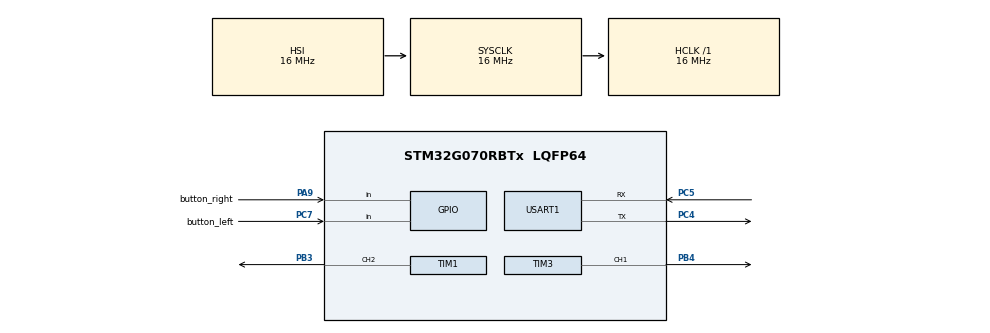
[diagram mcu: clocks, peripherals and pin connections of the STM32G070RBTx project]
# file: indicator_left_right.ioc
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Mcu.Family=STM32G0
Mcu.Name=STM32G070RBTx
Mcu.Package=LQFP64
NVIC.USART1_IRQn=true\:0\:0\:false\:false\:true\:true\:true\:true
PA9.GPIO_Label=button_right
PA9.Signal=GPIO_Input
PB3.Signal=S_TIM1_CH2
PB4.Signal=S_TIM3_CH1
PC4.Mode=Asynchronous
PC4.Signal=USART1_TX
PC5.Mode=Asynchronous
PC5.Signal=USART1_RX
PC7.GPIO_Label=button_left
PC7.Signal=GPIO_Input
ProjectManager.HeapSize=0x200
ProjectManager.StackSize=0x400
ProjectManager.TargetToolchain=STM32CubeIDE
RCC.AHBFreq_Value=16000000
RCC.CortexFreq_Value=16000000
RCC.EXTERNAL_CLOCK_VALUE=48000
RCC.HCLKFreq_Value=16000000
RCC.HSE_VALUE=8000000
RCC.HSI_VALUE=16000000
RCC.LSE_VALUE=32768
RCC.SYSCLKFreq_VALUE=16000000
RCC.VCOOutputFreq_Value=128000000
SH.S_TIM1_CH2.0=TIM1_CH2,PWM Generation2 CH2
SH.S_TIM3_CH1.0=TIM3_CH1,PWM Generation1 CH1
TIM1.Channel-PWM\ Generation2\ CH2=TIM_CHANNEL_2
TIM1.Period=300
TIM1.Prescaler=15999
TIM1.Pulse-PWM\ Generation2\ CH2=149
TIM3.Channel-PWM\ Generation1\ CH1=TIM_CHANNEL_1
TIM3.Period=300
TIM3.Prescaler=15999
TIM3.Pulse-PWM\ Generation1\ CH1=149
TIM6.Period=999
TIM6.Prescaler=1599
USART1.VirtualMode-Asynchronous=VM_ASYNC
VP_TIM6_VS_ClockSourceINT.Mode=Enable_Timer
board=custom

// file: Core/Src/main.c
/* USER CODE BEGIN Header */
/**
  ******************************************************************************
  * @file           : main.c
  * @brief          : Main program body
  ******************************************************************************
  * @attention
  *
  * Copyright (c) 2025 STMicroelectronics.
  * All rights reserved.
  *
  * This software is licensed under terms that can be found in the LICENSE file
  * in the root directory of this software component.
  * If no LICENSE file comes with this software, it is provided AS-IS.
  *
  ******************************************************************************
  */
/* USER CODE END Header */
#include "main.h"

/* USER CODE BEGIN Includes */
#include "moon_riders.h"
#include "stdbool.h"
#include "schM.h"
/* USER CODE END Includes */

/* USER CODE BEGIN PD */

// Define Simulink inputs and outputs
extern ExtU_moon_riders_T moon_riders_U;
extern ExtY_moon_riders_T moon_riders_Y;

/* USER CODE END PD */

TIM_HandleTypeDef htim1;
TIM_HandleTypeDef htim3;
TIM_HandleTypeDef htim6;

UART_HandleTypeDef huart1;

/* USER CODE BEGIN PV */
char tx_buffer[64]; // Buffer for UART messages
/* USER CODE END PV */

void SystemClock_Config(void);
static void MX_GPIO_Init(void);
static void MX_TIM1_Init(void);
static void MX_TIM3_Init(void);
static void MX_USART1_UART_Init(void);
static void MX_TIM6_Init(void);
/* USER CODE BEGIN PFP */
void buttons_stuff(void);
/* USER CODE END PFP */

/* USER CODE BEGIN 0 */
volatile bool Left_button_pressed;
volatile bool Right_button_pressed;

/* USER CODE END 0 */

int main(void)
{

  /* MCU Configuration--------------------------------------------------------*/

  /* Reset of all peripherals, Initializes the Flash interface and the Systick. */
  HAL_Init();

  /* USER CODE BEGIN Init */
  moon_riders_initialize();
  /* USER CODE END Init */

  /* Configure the system clock */
  SystemClock_Config();

  /* Initialize all configured peripherals */
  MX_GPIO_Init();
  MX_TIM1_Init();
  MX_TIM3_Init();
  MX_USART1_UART_Init();
  MX_TIM6_Init();
  /* USER CODE BEGIN 2 */
  HAL_SYSTICK_Config(HAL_RCC_GetHCLKFreq() / 1000); // 1ms tick

  addTask(moon_riders_step, 100);  // Register function, but doesn't execute yet
  addTask(buttons_stuff,100);

  /* USER CODE END 2 */

  /* Infinite loop */
  /* USER CODE BEGIN WHILE */
  while (1) {

  }
  /* USER CODE END 3 */
}

void SystemClock_Config(void)
{
  RCC_OscInitTypeDef RCC_OscInitStruct = {0};
  RCC_ClkInitTypeDef RCC_ClkInitStruct = {0};

  /** Configure the main internal regulator output voltage
  */
  HAL_PWREx_ControlVoltageScaling(PWR_REGULATOR_VOLTAGE_SCALE1);

  /** Initializes the RCC Oscillators according to the specified parameters
  * in the RCC_OscInitTypeDef structure.
  */
  RCC_OscInitStruct.OscillatorType = RCC_OSCILLATORTYPE_HSI;
  RCC_OscInitStruct.HSIState = RCC_HSI_ON;
  RCC_OscInitStruct.HSIDiv = RCC_HSI_DIV1;
  RCC_OscInitStruct.HSICalibrationValue = RCC_HSICALIBRATION_DEFAULT;
  RCC_OscInitStruct.PLL.PLLState = RCC_PLL_NONE;
  if (HAL_RCC_OscConfig(&RCC_OscInitStruct) != HAL_OK)
  {
    Error_Handler();
  }

  /** Initializes the CPU, AHB and APB buses clocks
  */
  RCC_ClkInitStruct.ClockType = RCC_CLOCKTYPE_HCLK|RCC_CLOCKTYPE_SYSCLK
                              |RCC_CLOCKTYPE_PCLK1;
  RCC_ClkInitStruct.SYSCLKSource = RCC_SYSCLKSOURCE_HSI;
  RCC_ClkInitStruct.AHBCLKDivider = RCC_SYSCLK_DIV1;
  RCC_ClkInitStruct.APB1CLKDivider = RCC_HCLK_DIV1;

  if (HAL_RCC_ClockConfig(&RCC_ClkInitStruct, FLASH_LATENCY_0) != HAL_OK)
  {
    Error_Handler();
  }
}

static void MX_TIM1_Init(void)
{

  TIM_MasterConfigTypeDef sMasterConfig = {0};
  TIM_OC_InitTypeDef sConfigOC = {0};
  TIM_BreakDeadTimeConfigTypeDef sBreakDeadTimeConfig = {0};

  htim1.Instance = TIM1;
  htim1.Init.Prescaler = 15999;
  htim1.Init.CounterMode = TIM_COUNTERMODE_UP;
  htim1.Init.Period = 300;
  htim1.Init.ClockDivision = TIM_CLOCKDIVISION_DIV1;
  htim1.Init.RepetitionCounter = 0;
  htim1.Init.AutoReloadPreload = TIM_AUTORELOAD_PRELOAD_DISABLE;
  if (HAL_TIM_PWM_Init(&htim1) != HAL_OK)
  {
    Error_Handler();
  }
  sMasterConfig.MasterOutputTrigger = TIM_TRGO_RESET;
  sMasterConfig.MasterOutputTrigger2 = TIM_TRGO2_RESET;
  sMasterConfig.MasterSlaveMode = TIM_MASTERSLAVEMODE_DISABLE;
  if (HAL_TIMEx_MasterConfigSynchronization(&htim1, &sMasterConfig) != HAL_OK)
  {
    Error_Handler();
  }
  sConfigOC.OCMode = TIM_OCMODE_PWM1;
  sConfigOC.Pulse = 149;
  sConfigOC.OCPolarity = TIM_OCPOLARITY_HIGH;
  sConfigOC.OCNPolarity = TIM_OCNPOLARITY_HIGH;
  sConfigOC.OCFastMode = TIM_OCFAST_DISABLE;
  sConfigOC.OCIdleState = TIM_OCIDLESTATE_RESET;
  sConfigOC.OCNIdleState = TIM_OCNIDLESTATE_RESET;
  if (HAL_TIM_PWM_ConfigChannel(&htim1, &sConfigOC, TIM_CHANNEL_2) != HAL_OK)
  {
    Error_Handler();
  }
  sBreakDeadTimeConfig.OffStateRunMode = TIM_OSSR_DISABLE;
  sBreakDeadTimeConfig.OffStateIDLEMode = TIM_OSSI_DISABLE;
  sBreakDeadTimeConfig.LockLevel = TIM_LOCKLEVEL_OFF;
  sBreakDeadTimeConfig.DeadTime = 0;
  sBreakDeadTimeConfig.BreakState = TIM_BREAK_DISABLE;
  sBreakDeadTimeConfig.BreakPolarity = TIM_BREAKPOLARITY_HIGH;
  sBreakDeadTimeConfig.BreakFilter = 0;
  sBreakDeadTimeConfig.BreakAFMode = TIM_BREAK_AFMODE_INPUT;
  sBreakDeadTimeConfig.Break2State = TIM_BREAK2_DISABLE;
  sBreakDeadTimeConfig.Break2Polarity = TIM_BREAK2POLARITY_HIGH;
  sBreakDeadTimeConfig.Break2Filter = 0;
  sBreakDeadTimeConfig.Break2AFMode = TIM_BREAK_AFMODE_INPUT;
  sBreakDeadTimeConfig.AutomaticOutput = TIM_AUTOMATICOUTPUT_DISABLE;
  if (HAL_TIMEx_ConfigBreakDeadTime(&htim1, &sBreakDeadTimeConfig) != HAL_OK)
  {
    Error_Handler();
  }
  HAL_TIM_MspPostInit(&htim1);

}

static void MX_TIM3_Init(void)
{

  TIM_MasterConfigTypeDef sMasterConfig = {0};
  TIM_OC_InitTypeDef sConfigOC = {0};

  htim3.Instance = TIM3;
  htim3.Init.Prescaler = 15999;
  htim3.Init.CounterMode = TIM_COUNTERMODE_UP;
  htim3.Init.Period = 300;
  htim3.Init.ClockDivision = TIM_CLOCKDIVISION_DIV1;
  htim3.Init.AutoReloadPreload = TIM_AUTORELOAD_PRELOAD_DISABLE;
  if (HAL_TIM_PWM_Init(&htim3) != HAL_OK)
  {
    Error_Handler();
  }
  sMasterConfig.MasterOutputTrigger = TIM_TRGO_RESET;
  sMasterConfig.MasterSlaveMode = TIM_MASTERSLAVEMODE_DISABLE;
  if (HAL_TIMEx_MasterConfigSynchronization(&htim3, &sMasterConfig) != HAL_OK)
  {
    Error_Handler();
  }
  sConfigOC.OCMode = TIM_OCMODE_PWM1;
  sConfigOC.Pulse = 149;
  sConfigOC.OCPolarity = TIM_OCPOLARITY_HIGH;
  sConfigOC.OCFastMode = TIM_OCFAST_DISABLE;
  if (HAL_TIM_PWM_ConfigChannel(&htim3, &sConfigOC, TIM_CHANNEL_1) != HAL_OK)
  {
    Error_Handler();
  }
  HAL_TIM_MspPostInit(&htim3);

}

static void MX_TIM6_Init(void)
{

  TIM_MasterConfigTypeDef sMasterConfig = {0};

  htim6.Instance = TIM6;
  htim6.Init.Prescaler = 1599;
  htim6.Init.CounterMode = TIM_COUNTERMODE_UP;
  htim6.Init.Period = 999;
  htim6.Init.AutoReloadPreload = TIM_AUTORELOAD_PRELOAD_DISABLE;
  if (HAL_TIM_Base_Init(&htim6) != HAL_OK)
  {
    Error_Handler();
  }
  sMasterConfig.MasterOutputTrigger = TIM_TRGO_RESET;
  sMasterConfig.MasterSlaveMode = TIM_MASTERSLAVEMODE_DISABLE;
  if (HAL_TIMEx_MasterConfigSynchronization(&htim6, &sMasterConfig) != HAL_OK)
  {
    Error_Handler();
  }

}

static void MX_USART1_UART_Init(void)
{

  huart1.Instance = USART1;
  huart1.Init.BaudRate = 115200;
  huart1.Init.WordLength = UART_WORDLENGTH_8B;
  huart1.Init.StopBits = UART_STOPBITS_1;
  huart1.Init.Parity = UART_PARITY_NONE;
  huart1.Init.Mode = UART_MODE_TX_RX;
  huart1.Init.HwFlowCtl = UART_HWCONTROL_NONE;
  huart1.Init.OverSampling = UART_OVERSAMPLING_16;
  huart1.Init.OneBitSampling = UART_ONE_BIT_SAMPLE_DISABLE;
  huart1.Init.ClockPrescaler = UART_PRESCALER_DIV1;
  huart1.AdvancedInit.AdvFeatureInit = UART_ADVFEATURE_NO_INIT;
  if (HAL_UART_Init(&huart1) != HAL_OK)
  {
    Error_Handler();
  }
  if (HAL_UARTEx_SetTxFifoThreshold(&huart1, UART_TXFIFO_THRESHOLD_1_8) != HAL_OK)
  {
    Error_Handler();
  }
  if (HAL_UARTEx_SetRxFifoThreshold(&huart1, UART_RXFIFO_THRESHOLD_1_8) != HAL_OK)
  {
    Error_Handler();
  }
  if (HAL_UARTEx_DisableFifoMode(&huart1) != HAL_OK)
  {
    Error_Handler();
  }

}

static void MX_GPIO_Init(void)
{
  GPIO_InitTypeDef GPIO_InitStruct = {0};

  /* GPIO Ports Clock Enable */
  __HAL_RCC_GPIOC_CLK_ENABLE();
  __HAL_RCC_GPIOA_CLK_ENABLE();
  __HAL_RCC_GPIOB_CLK_ENABLE();

  /*Configure GPIO pin : button_right_Pin */
  GPIO_InitStruct.Pin = button_right_Pin;
  GPIO_InitStruct.Mode = GPIO_MODE_INPUT;
  GPIO_InitStruct.Pull = GPIO_NOPULL;
  HAL_GPIO_Init(button_right_GPIO_Port, &GPIO_InitStruct);

  /*Configure GPIO pin : button_left_Pin */
  GPIO_InitStruct.Pin = button_left_Pin;
  GPIO_InitStruct.Mode = GPIO_MODE_INPUT;
  GPIO_InitStruct.Pull = GPIO_NOPULL;
  HAL_GPIO_Init(button_left_GPIO_Port, &GPIO_InitStruct);

}

/* USER CODE BEGIN 4 */
void buttons_stuff(void) {
    /* Read Left Button State */
    if (HAL_GPIO_ReadPin(button_left_GPIO_Port, button_left_Pin) == GPIO_PIN_RESET) {
        moon_riders_U.LEFT_BUTTON = 1.0;  // Active Low
        HAL_UART_Transmit(&huart1, (uint8_t*)"LEFT BUTTON: PRESSED\r\n", 22, 10);
        //HAL_Delay(10);
    } else {
        moon_riders_U.LEFT_BUTTON = 0.0;
    }

    /* Read Right Button State */
    if (HAL_GPIO_ReadPin(button_right_GPIO_Port, button_right_Pin) == GPIO_PIN_RESET) {
        moon_riders_U.RIGHT_BUTTON = 1.0;
        HAL_UART_Transmit(&huart1, (uint8_t*)"RIGHT BUTTON: PRESSED\r\n", 23, 10);
    } else {
        moon_riders_U.RIGHT_BUTTON = 0.0;
    }

    /* Update Left LED */
    if (moon_riders_Y.LEFT_LED == 1.0) {
        HAL_TIM_PWM_Start(&htim1, TIM_CHANNEL_2);  // Left LED ON
        HAL_UART_Transmit(&huart1, (uint8_t*)"LEFT LED: ON\r\n", 14, 10);
    } else {
        HAL_TIM_PWM_Stop(&htim1, TIM_CHANNEL_2);   // Left LED OFF
    }

    /* Update Right LED */
    if (moon_riders_Y.RIGHT_LED == 1.0) {
        HAL_TIM_PWM_Start(&htim3, TIM_CHANNEL_1);  // Right LED ON
        HAL_UART_Transmit(&huart1, (uint8_t*)"RIGHT LED: ON\r\n", 15, 10);
    } else {
        HAL_TIM_PWM_Stop(&htim3, TIM_CHANNEL_1);   // Right LED OFF
       HAL_UART_Transmit(&huart1, (uint8_t*)"RIGHT LED: OFF\r\n", 16, 10);
    }
}

/* USER CODE END 4 */

void Error_Handler(void)
{
  __disable_irq();
  while (1)
  {
  }
}
